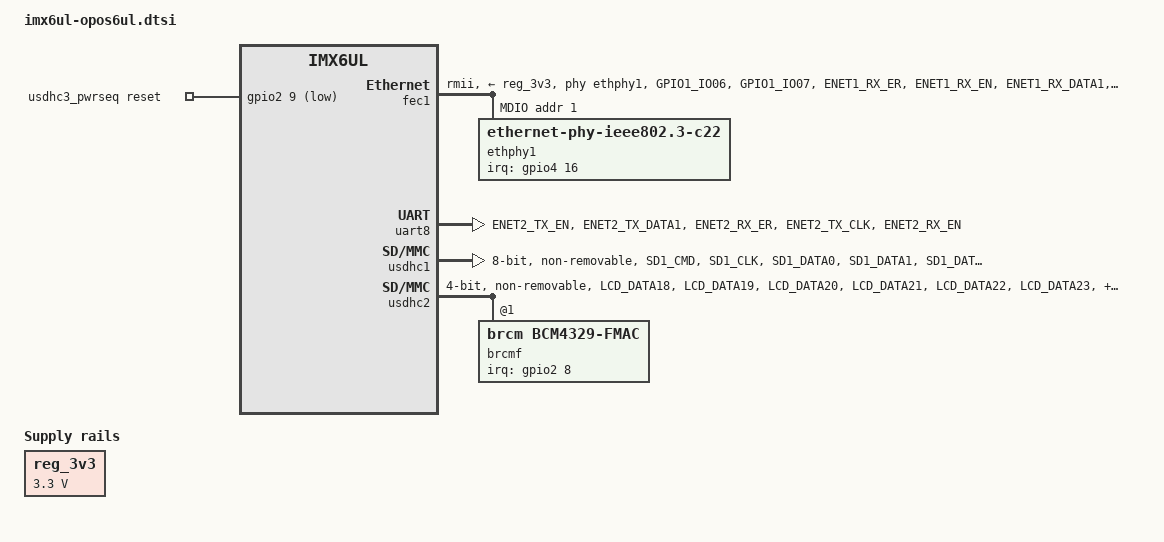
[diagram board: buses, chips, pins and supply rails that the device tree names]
/*
 * Copyright 2017 Armadeus Systems <support@armadeus.com>
 *
 * This file is dual-licensed: you can use it either under the terms
 * of the GPL or the X11 license, at your option. Note that this dual
 * licensing only applies to this file, and not this project as a
 * whole.
 *
 *  a) This file is free software; you can redistribute it and/or
 *     modify it under the terms of the GNU General Public License as
 *     published by the Free Software Foundation; either version 2 of
 *     the License, or (at your option) any later version.
 *
 *     This file is distributed in the hope that it will be useful,
 *     but WITHOUT ANY WARRANTY; without even the implied warranty of
 *     MERCHANTABILITY or FITNESS FOR A PARTICULAR PURPOSE.  See the
 *     GNU General Public License for more details.
 *
 *     You should have received a copy of the GNU General Public
 *     License along with this file; if not, write to the Free
 *     Software Foundation, Inc., 51 Franklin St, Fifth Floor, Boston,
 *     MA 02110-1301 USA
 *
 * Or, alternatively,
 *
 *  b) Permission is hereby granted, free of charge, to any person
 *     obtaining a copy of this software and associated documentation
 *     files (the "Software"), to deal in the Software without
 *     restriction, including without limitation the rights to use,
 *     copy, modify, merge, publish, distribute, sublicense, and/or
 *     sell copies of the Software, and to permit persons to whom the
 *     Software is furnished to do so, subject to the following
 *     conditions:
 *
 *     The above copyright notice and this permission notice shall be
 *     included in all copies or substantial portions of the Software.
 *
 *     THE SOFTWARE IS PROVIDED "AS IS", WITHOUT WARRANTY OF ANY KIND,
 *     EXPRESS OR IMPLIED, INCLUDING BUT NOT LIMITED TO THE WARRANTIES
 *     OF MERCHANTABILITY, FITNESS FOR A PARTICULAR PURPOSE AND
 *     NONINFRINGEMENT. IN NO EVENT SHALL THE AUTHORS OR COPYRIGHT
 *     HOLDERS BE LIABLE FOR ANY CLAIM, DAMAGES OR OTHER LIABILITY,
 *     WHETHER IN AN ACTION OF CONTRACT, TORT OR OTHERWISE, ARISING
 *     FROM, OUT OF OR IN CONNECTION WITH THE SOFTWARE OR THE USE OR
 *     OTHER DEALINGS IN THE SOFTWARE.
 */

#include "imx6ul.dtsi"

/ {
	memory@80000000 {
		reg = <0x80000000 0>; /* will be filled by U-Boot */
	};

	reg_3v3: regulator-3v3 {
		compatible = "regulator-fixed";
		regulator-name = "3V3";
		regulator-min-microvolt = <3300000>;
		regulator-max-microvolt = <3300000>;
	};

	usdhc3_pwrseq: usdhc3-pwrseq {
		compatible = "mmc-pwrseq-simple";
		reset-gpios = <&gpio2 9 GPIO_ACTIVE_LOW>;
	};
};

&fec1 {
	pinctrl-names = "default";
	pinctrl-0 = <&pinctrl_enet1>;
	phy-mode = "rmii";
	phy-reset-duration = <1>;
	phy-reset-gpios = <&gpio4 2 GPIO_ACTIVE_LOW>;
	phy-handle = <&ethphy1>;
	phy-supply = <&reg_3v3>;
	status = "okay";

	mdio: mdio {
		#address-cells = <1>;
		#size-cells = <0>;

		ethphy1: ethernet-phy@1 {
			compatible = "ethernet-phy-ieee802.3-c22";
			reg = <1>;
			interrupt-parent = <&gpio4>;
			interrupts = <16 IRQ_TYPE_LEVEL_LOW>;
			status = "okay";
		};
	};
};

/* Bluetooth */
&uart8 {
	pinctrl-names = "default";
	pinctrl-0 = <&pinctrl_uart8>;
	uart-has-rtscts;
	status = "okay";
};

/* eMMC */
&usdhc1 {
	pinctrl-names = "default";
	pinctrl-0 = <&pinctrl_usdhc1>;
	bus-width = <8>;
	no-1-8-v;
	non-removable;
	status = "okay";
};

/* WiFi */
&usdhc2 {
	pinctrl-names = "default";
	pinctrl-0 = <&pinctrl_usdhc2>;
	bus-width = <4>;
	no-1-8-v;
	non-removable;
	mmc-pwrseq = <&usdhc3_pwrseq>;
	status = "okay";

	#address-cells = <1>;
	#size-cells = <0>;

	brcmf: wifi@1 {
		compatible = "brcm,bcm4329-fmac";
		reg = <1>;
		interrupt-parent = <&gpio2>;
		interrupts = <8 IRQ_TYPE_LEVEL_LOW>;
		interrupt-names = "host-wake";
	};
};

&iomuxc {
	pinctrl_enet1: enet1grp {
		fsl,pins = <
			MX6UL_PAD_GPIO1_IO06__ENET1_MDIO	0x1b0b0
			MX6UL_PAD_GPIO1_IO07__ENET1_MDC		0x1b0b0
			MX6UL_PAD_ENET1_RX_ER__ENET1_RX_ER	0x130b0
			MX6UL_PAD_ENET1_RX_EN__ENET1_RX_EN	0x130b0
			MX6UL_PAD_ENET1_RX_DATA1__ENET1_RDATA01	0x130b0
			MX6UL_PAD_ENET1_RX_DATA0__ENET1_RDATA00	0x130b0
			MX6UL_PAD_ENET1_TX_DATA0__ENET1_TDATA00	0x1b0b0
			MX6UL_PAD_ENET1_TX_DATA1__ENET1_TDATA01	0x1b0b0
			MX6UL_PAD_ENET1_TX_EN__ENET1_TX_EN	0x1b0b0
			/* INT# */
			MX6UL_PAD_NAND_DQS__GPIO4_IO16		0x1b0b0
			/* RST# */
			MX6UL_PAD_NAND_DATA00__GPIO4_IO02	0x130b0
			MX6UL_PAD_ENET1_TX_CLK__ENET1_REF_CLK1	0x4001b031
		>;
	};

	pinctrl_uart8: uart8grp {
		fsl,pins = <
			MX6UL_PAD_ENET2_TX_EN__UART8_DCE_RX	0x1b0b0
			MX6UL_PAD_ENET2_TX_DATA1__UART8_DCE_TX	0x1b0b0
			MX6UL_PAD_ENET2_RX_ER__UART8_DCE_RTS	0x1b0b0
			MX6UL_PAD_ENET2_TX_CLK__UART8_DCE_CTS	0x1b0b0
			/* BT_REG_ON */
			MX6UL_PAD_ENET2_RX_EN__GPIO2_IO10	0x130b0
		>;
	};

	pinctrl_usdhc1: usdhc1grp {
		fsl,pins = <
			MX6UL_PAD_SD1_CMD__USDHC1_CMD		0x17059
			MX6UL_PAD_SD1_CLK__USDHC1_CLK		0x10059
			MX6UL_PAD_SD1_DATA0__USDHC1_DATA0	0x17059
			MX6UL_PAD_SD1_DATA1__USDHC1_DATA1	0x17059
			MX6UL_PAD_SD1_DATA2__USDHC1_DATA2	0x17059
			MX6UL_PAD_SD1_DATA3__USDHC1_DATA3	0x17059
			MX6UL_PAD_NAND_READY_B__USDHC1_DATA4	0x17059
			MX6UL_PAD_NAND_CE0_B__USDHC1_DATA5	0x17059
			MX6UL_PAD_NAND_CE1_B__USDHC1_DATA6	0x17059
			MX6UL_PAD_NAND_CLE__USDHC1_DATA7	0x17059
		>;
	};

	pinctrl_usdhc2: usdhc2grp {
		fsl,pins = <
			MX6UL_PAD_LCD_DATA18__USDHC2_CMD	0x1b0b0
			MX6UL_PAD_LCD_DATA19__USDHC2_CLK	0x100b0
			MX6UL_PAD_LCD_DATA20__USDHC2_DATA0	0x1b0b0
			MX6UL_PAD_LCD_DATA21__USDHC2_DATA1	0x1b0b0
			MX6UL_PAD_LCD_DATA22__USDHC2_DATA2	0x1b0b0
			MX6UL_PAD_LCD_DATA23__USDHC2_DATA3	0x1b0b0
			/* WL_REG_ON */
			MX6UL_PAD_ENET2_RX_DATA1__GPIO2_IO09	0x130b0
			/* WL_IRQ */
			MX6UL_PAD_ENET2_RX_DATA0__GPIO2_IO08	0x1b0b0
		>;
	};
};
